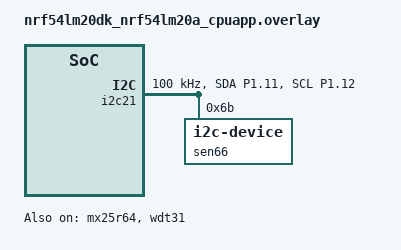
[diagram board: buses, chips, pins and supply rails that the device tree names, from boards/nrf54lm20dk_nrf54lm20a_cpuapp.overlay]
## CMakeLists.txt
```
cmake_minimum_required(VERSION 3.20.0)

find_package(Zephyr HINTS $ENV{ZEPHYR_BASE})

project(nrf54_matter_sensirion_sen66)

include(${ZEPHYR_CONNECTEDHOMEIP_MODULE_DIR}/config/nrfconnect/app/enable-gnu-std.cmake)
include(${ZEPHYR_NRF_MODULE_DIR}/samples/matter/common/cmake/source_common.cmake)
include(${ZEPHYR_NRF_MODULE_DIR}/samples/matter/common/cmake/data_model.cmake)
include(${ZEPHYR_NRF_MODULE_DIR}/samples/matter/common/cmake/zap_helpers.cmake)

ncs_get_zap_parent_dir(ZAP_PARENT_DIR)

target_include_directories(app PRIVATE
    src
    ${ZAP_PARENT_DIR}
)

target_sources(app PRIVATE
    src/app_task.cpp
    src/main.cpp
)

if(CONFIG_APP_SEN66)
    target_sources(app PRIVATE
        src/sen66/sen66_crc.cpp
        src/sen66/sen66_protocol.cpp
        src/sen66/sen66_driver.cpp
    )
endif()

if(CONFIG_APP_MEASUREMENT_SERVICE)
    target_sources(app PRIVATE
        src/measurement_service/measurement_policy.cpp
        src/measurement_service/measurement_service.cpp
    )
endif()

if(CONFIG_APP_SEN66_SHELL)
    target_sources(app PRIVATE
        src/sen66/sen66_shell.cpp
    )
endif()

if(CONFIG_APP_AIR_QUALITY_ENDPOINT)
    target_sources(app PRIVATE
        src/air_quality_endpoint/air_quality_policy.cpp
        src/air_quality_endpoint/air_quality_matter_adapter.cpp
    )
endif()

ncs_configure_data_model()
```

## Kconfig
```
mainmenu "SEN66 Matter Air Quality Accessory"

config CHIP_WIFI

config APP_SEN66
	bool "Enable the SEN66 air-quality sensor driver"
	default y
	depends on I2C
	help
	  Build the isolated SEN66 I2C driver (transport, Sensirion CRC, and the
	  measurement/serial-number parser). Disabling it drops the driver sources
	  from the image without touching the Matter baseline.

config APP_SEN66_SHELL
	bool "Enable SEN66 diagnostic shell commands"
	default y
	depends on APP_SEN66 && SHELL
	help
	  Register the "sen66" shell command (serial, read, latest) used as the
	  M2/M3 hardware smoke test over the Matter shell.

config APP_MEASUREMENT_SERVICE
	bool "Enable the SEN66 measurement service"
	default y
	depends on APP_SEN66
	help
	  Poll the SEN66 on a dedicated work queue roughly once a second,
	  retry/recover from I2C and CRC errors, and expose a thread-safe
	  latest-measurement snapshot for later Matter integration.

config APP_MEASUREMENT_SERVICE_STACK_SIZE
	int "Measurement service work-queue stack size"
	default 2048
	depends on APP_MEASUREMENT_SERVICE
	help
	  Stack size for the dedicated work-queue thread that polls the SEN66
	  driver. The driver performs blocking I2C calls and logging on this
	  thread, so it needs headroom beyond a minimal work queue.

config APP_AIR_QUALITY_ENDPOINT
	bool "Enable the Matter air-quality sensor endpoint"
	default y
	depends on APP_MEASUREMENT_SERVICE
	help
	  Define endpoint 1 (Air Quality, Temperature/Humidity Measurement, and
	  CO2/PM1/PM2.5/PM10 Concentration Measurement) and publish it from the
	  measurement service's latest snapshot, marshaled onto the CHIP thread.

source "$(ZEPHYR_CONNECTEDHOMEIP_MODULE_DIR)/config/nrfconnect/chip-module/Kconfig.features"
source "$(ZEPHYR_CONNECTEDHOMEIP_MODULE_DIR)/config/nrfconnect/chip-module/Kconfig.defaults"
source "$(ZEPHYR_NRF_MODULE_DIR)/samples/matter/common/src/Kconfig"
source "Kconfig.zephyr"
```

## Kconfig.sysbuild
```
config NRF_DEFAULT_IPC_RADIO
    default y

choice BOOTLOADER
	default BOOTLOADER_MCUBOOT if !BOARD_NRF21540DK
endchoice

if BOOTLOADER_MCUBOOT

config DFU_MULTI_IMAGE_PACKAGE_BUILD
	default y

config DFU_MULTI_IMAGE_PACKAGE_APP
	default y

endif # BOOTLOADER_MCUBOOT

config MATTER_FACTORY_DATA_GENERATE
	default y if !BOARD_NRF21540DK

source "share/sysbuild/Kconfig"
```

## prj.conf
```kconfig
CONFIG_CHIP=y
CONFIG_CHIP_PROJECT_CONFIG="src/chip_project_config.h"
CONFIG_CHIP_DEVICE_PRODUCT_NAME="SEN66 Air Quality Sensor"
CONFIG_CHIP_DEVICE_PRODUCT_ID=32768
CONFIG_STD_CPP17=y

CONFIG_NCS_SAMPLE_MATTER_ZAP_FILE_PATH="${APPLICATION_CONFIG_DIR}/src/default_zap/air_quality_sensor.zap"

# Allow a commissioner to rendezvous over Bluetooth LE and provide Wi-Fi credentials.
CONFIG_CHIP_ENABLE_PAIRING_AUTOSTART=y
CONFIG_CHIP_BLE_EXT_ADVERTISING=y
CONFIG_CHIP_BLE_ADVERTISING_DURATION=60
CONFIG_BT_DEVICE_NAME="SEN66 Sensor"

# Removing the last fabric (e.g. `chip-tool pairing unpair`) must not also
# wipe the Wi-Fi station credentials: re-commissioning to a new controller
# during Apple Home bring-up (M5) should not require re-entering the Wi-Fi
# password every time. With NONE, unpairing only clears the fabric table; a
# reboot then reopens the BLE commissioning window (pairing autostart checks
# FabricCount() == 0 independently of Wi-Fi state) while Wi-Fi stays
# connected. See docs/apple-home.md for the full procedure and why a Button 1
# press does not do this once Wi-Fi is already connected.
CONFIG_CHIP_LAST_FABRIC_REMOVED_NONE=y

# Publish the Matter onboarding payload through the DK NFC tag interface.
CONFIG_CHIP_NFC_ONBOARDING_PAYLOAD=y

# SEN66 air-quality sensor over I2C (feature/sen66-driver).
CONFIG_I2C=y

# Nordic DK button and LED support plus diagnostics during development.
CONFIG_DK_LIBRARY=y
CONFIG_THREAD_NAME=y
CONFIG_MPU_STACK_GUARD=y
CONFIG_RESET_ON_FATAL_ERROR=n
CONFIG_CHIP_LIB_SHELL=y
CONFIG_NCS_SAMPLE_MATTER_TEST_SHELL=y
CONFIG_LOG=y
CONFIG_LOG_MODE_DEFERRED=y
CONFIG_LOG_DEFAULT_LEVEL=3
CONFIG_LOG_BACKEND_UART=y
CONFIG_LOG_BACKEND_UART_AUTOSTART=y
CONFIG_CHIP_FACTORY_DATA=y
CONFIG_CHIP_FACTORY_DATA_BUILD=y
CONFIG_CHIP_FACTORY_RESET_ERASE_SETTINGS=y
# Keep the development DAC key in factory data. Migrating it to the nRF54 KMU
# makes a key from an earlier development flash persist across later builds.
CONFIG_CHIP_CRYPTO_PSA_MIGRATE_DAC_PRIV_KEY=n
CONFIG_USE_SEGGER_RTT=n
```

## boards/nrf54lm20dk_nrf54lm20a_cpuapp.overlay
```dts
/*
 * Matter baseline board configuration for nRF54LM20 DK.
 *
 * The nRF7002-EB II shield supplies its own overlay through SHIELD=nrf7002eb2.
 * SEN66 I2C wiring (feature/sen66-driver) uses i2c21: the only serial instance
 * left free by the shield (i2c22/spi22 drives the nRF70; uart30 is the console).
 * SDA=P1.11, SCL=P1.12 match docs/hardware.md and do not clash with the shield,
 * which routes on ports 3 and 0.
 */

#include <zephyr/dt-bindings/i2c/i2c.h>

#include <samples/matter/nrf54lm20_cpuapp_partitions.dtsi>

/ {
    aliases {
        watchdog0 = &wdt31;
    };

    chosen {
        nordic,pm-ext-flash = &mx25r64;
    };
};

&mx25r64 {
    status = "okay";
};

&wdt31 {
    status = "okay";
};

&pinctrl {
    i2c21_default: i2c21_default {
        group1 {
            psels = <NRF_PSEL(TWIM_SDA, 1, 11)>, <NRF_PSEL(TWIM_SCL, 1, 12)>;
        };
    };

    i2c21_sleep: i2c21_sleep {
        group1 {
            psels = <NRF_PSEL(TWIM_SDA, 1, 11)>, <NRF_PSEL(TWIM_SCL, 1, 12)>;
            low-power-enable;
        };
    };
};

&i2c21 {
    status = "okay";
    clock-frequency = <I2C_BITRATE_STANDARD>; /* SEN6x: 100 kHz, no clock stretching */
    pinctrl-0 = <&i2c21_default>;
    pinctrl-1 = <&i2c21_sleep>;
    pinctrl-names = "default", "sleep";

    sen66: sen66@6b {
        compatible = "i2c-device";
        reg = <0x6b>;
    };
};
```

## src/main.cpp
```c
/*
 * SPDX-License-Identifier: LicenseRef-Nordic-5-Clause
 */

#include "app_task.h"

#include <zephyr/logging/log.h>

LOG_MODULE_REGISTER(app, CONFIG_CHIP_APP_LOG_LEVEL);

int main() {
    LOG_INF("SEN66 Matter baseline starting");

    const CHIP_ERROR error = AppTask::Instance().StartApp();

    LOG_ERR("Matter application exited: %" CHIP_ERROR_FORMAT, error.Format());
    return error == CHIP_NO_ERROR ? 0 : 1;
}
```

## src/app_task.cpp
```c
/*
 * SPDX-License-Identifier: LicenseRef-Nordic-5-Clause
 */

#include "app_task.h"

#include "app/matter_init.h"
#include "app/task_executor.h"
#include "board/board.h"
#include "lib/core/CHIPError.h"
#include "lib/support/CodeUtils.h"

#if defined(CONFIG_APP_SEN66)
#include "sen66/sen66_driver.h"
#endif

#if defined(CONFIG_APP_MEASUREMENT_SERVICE)
#include "measurement_service/measurement_service.h"
#endif

#include <zephyr/logging/log.h>

LOG_MODULE_DECLARE(app, CONFIG_CHIP_APP_LOG_LEVEL);

using namespace chip;

CHIP_ERROR AppTask::Init() {
    LOG_INF("Preparing Matter server");
    ReturnErrorOnFailure(Nrf::Matter::PrepareServer());
    LOG_INF("Matter server prepared");

    if (!Nrf::GetBoard().Init()) {
        LOG_ERR("Board UI initialization failed");
        return CHIP_ERROR_INCORRECT_STATE;
    }

#if defined(CONFIG_APP_SEN66)
    // A missing sensor bus must not block Matter. The measurement service
    // owns runtime polling, retry, and recovery once the bus is ready.
    if (!Sen66::Init()) {
        LOG_WRN("SEN66 sensor not detected; continuing without it");
    }
#if defined(CONFIG_APP_MEASUREMENT_SERVICE)
    else if (!MeasurementService::Init()) {
        LOG_ERR("SEN66 measurement service failed to start");
    }
#endif
#endif

    // CONFIG_APP_AIR_QUALITY_ENDPOINT's cluster registration self-registers
    // via NRF_MATTER_CLUSTER_INIT and runs automatically from inside
    // StartServer() below, once it is safe to do so - see
    // air_quality_matter_adapter.h.

    ReturnErrorOnFailure(
        Nrf::Matter::RegisterEventHandler(Nrf::Board::DefaultMatterEventHandler, 0));

    LOG_INF("Starting Matter server");
    return Nrf::Matter::StartServer();
}

CHIP_ERROR AppTask::StartApp() {
    ReturnErrorOnFailure(Init());

    while (true) {
        Nrf::DispatchNextTask();
    }
}
```

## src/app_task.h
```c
/*
 * SPDX-License-Identifier: LicenseRef-Nordic-5-Clause
 */

#pragma once

#include <platform/CHIPDeviceLayer.h>

class AppTask {
  public:
    static AppTask &Instance() {
        static AppTask instance;
        return instance;
    }

    CHIP_ERROR StartApp();

  private:
    CHIP_ERROR Init();
};
```

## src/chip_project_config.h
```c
/*
 * SPDX-License-Identifier: LicenseRef-Nordic-5-Clause
 */

#pragma once
```
